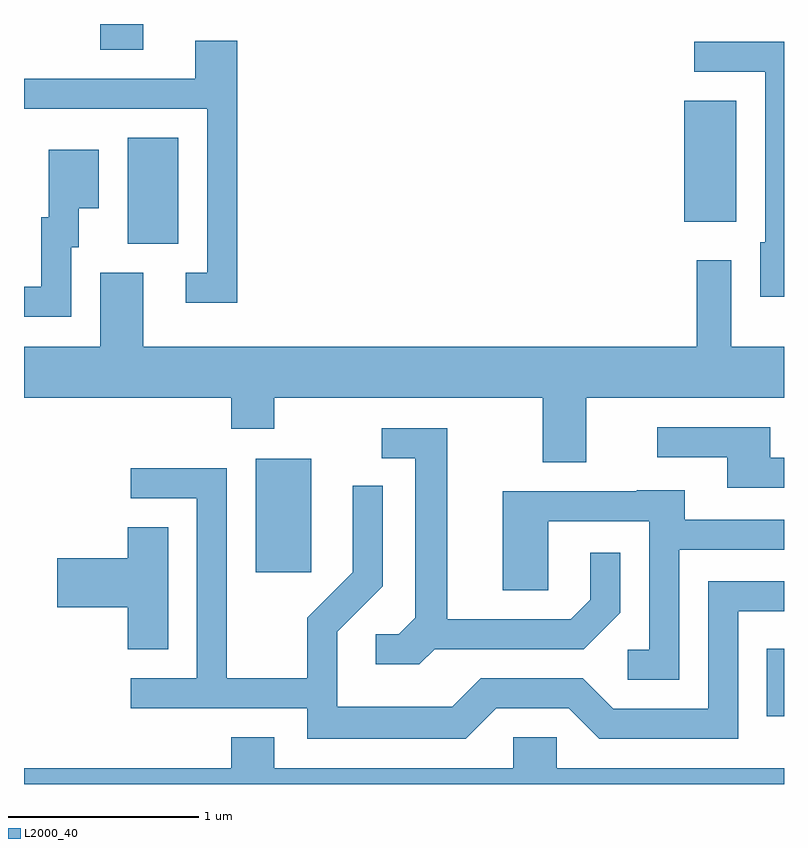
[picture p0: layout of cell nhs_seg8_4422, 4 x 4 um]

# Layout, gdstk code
import gdstk
lib = gdstk.Library(unit=1e-6, precision=1e-09)
def R(c, l, rs):  # rectangles x0, y0, x1, y1
    for r in rs: c.add(gdstk.rectangle(r[:2], r[2:], *l))
def P(c, l, *ps):  # polygons
    for p in ps: c.add(gdstk.Polygon(p, *l))
L2000_40 = (2000, 40)

nhs_seg8_4422 = lib.new_cell('nhs_seg8_4422')
R(nhs_seg8_4422, L2000_40, [(321.521,1874.698,321.611,1875.054), (318.831,1875.456,319.124,1876.054), (318.156,1877.186,318.424,1877.744), (321.086,1877.301,321.359,1877.939), (318.011,1878.206,318.239,1878.342)])
P(nhs_seg8_4422, L2000_40, [(318.734,1878.254),(318.511,1878.254),(318.511,1878.054),(317.611,1878.054),(317.611,1877.896),(318.576,1877.896),(318.576,1877.034),(318.463,1877.034),(318.463,1876.876),(318.734,1876.876)],
  [(321.611,1878.249),(321.138,1878.249),(321.138,1878.091),(321.511,1878.091),(321.511,1877.194),(321.486,1877.194),(321.486,1876.906),(321.611,1876.906)],
  [(317.859,1877.166),(317.899,1877.166),(317.899,1877.371),(318.004,1877.371),(318.004,1877.679),(317.741,1877.679),(317.741,1877.324),(317.701,1877.324),(317.701,1876.959),(317.611,1876.959),(317.611,1876.801),(317.859,1876.801)],
  [(320.569,1876.376),(321.611,1876.376),(321.611,1876.644),(321.334,1876.644),(321.334,1877.099),(321.151,1877.099),(321.151,1876.644),(318.239,1876.644),(318.239,1877.034),(318.011,1877.034),(318.011,1876.644),(317.611,1876.644),(317.611,1876.376),(318.701,1876.376),(318.701,1876.211),(318.929,1876.211),(318.929,1876.376),(320.341,1876.376),(320.341,1876.036),(320.569,1876.036)],
  [(321.611,1876.059),(321.539,1876.059),(321.539,1876.219),(320.943,1876.219),(320.943,1876.061),(321.311,1876.061),(321.311,1875.901),(321.611,1875.901)],
  [(319.772,1875.051),(320.557,1875.051),(320.749,1875.244),(320.749,1875.558),(320.591,1875.558),(320.591,1875.312),(320.489,1875.209),(319.839,1875.209),(319.839,1876.214),(319.493,1876.214),(319.493,1876.056),(319.671,1876.056),(319.671,1875.217),(319.584,1875.129),(319.463,1875.129),(319.463,1874.971),(319.692,1874.971)],
  [(320.097,1874.741),(320.479,1874.741),(320.639,1874.581),(321.369,1874.581),(321.369,1875.251),(321.611,1875.251),(321.611,1875.409),(321.211,1875.409),(321.211,1874.739),(320.712,1874.739),(320.552,1874.899),(320.014,1874.899),(319.864,1874.749),(319.259,1874.749),(319.259,1875.144),(319.499,1875.384),(319.499,1875.913),(319.341,1875.913),(319.341,1875.457),(319.101,1875.217),(319.101,1874.899),(318.679,1874.899),(318.679,1876.004),(318.173,1876.004),(318.173,1875.846),(318.521,1875.846),(318.521,1874.899),(318.173,1874.899),(318.173,1874.741),(319.101,1874.741),(319.101,1874.581),(319.937,1874.581)],
  [(321.059,1875.576),(321.611,1875.576),(321.611,1875.734),(321.089,1875.734),(321.089,1875.889),(320.835,1875.889),(320.835,1875.884),(320.131,1875.884),(320.131,1875.361),(320.369,1875.361),(320.369,1875.726),(320.901,1875.726),(320.901,1875.049),(320.788,1875.049),(320.788,1874.891),(321.059,1874.891)],
  [(318.369,1875.694),(318.156,1875.694),(318.156,1875.529),(317.786,1875.529),(317.786,1875.271),(318.156,1875.271),(318.156,1875.051),(318.369,1875.051)],
  [(321.611,1874.424),(320.414,1874.424),(320.414,1874.589),(320.186,1874.589),(320.186,1874.424),(318.929,1874.424),(318.929,1874.589),(318.701,1874.589),(318.701,1874.424),(317.611,1874.424),(317.611,1874.342),(321.611,1874.342)])

lib.write_gds('nhs_seg8_4422.gds')
